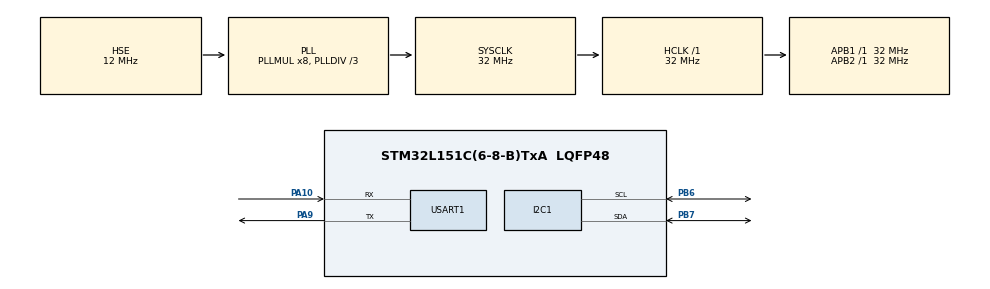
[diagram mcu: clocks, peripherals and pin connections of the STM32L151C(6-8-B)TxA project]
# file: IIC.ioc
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Mcu.Family=STM32L1
Mcu.Name=STM32L151C(6-8-B)TxA
Mcu.Package=LQFP48
NVIC.PriorityGroup=NVIC_PRIORITYGROUP_4
PA10.Mode=Asynchronous
PA10.Signal=USART1_RX
PA13.Mode=Serial_Wire
PA13.Signal=SYS_JTMS-SWDIO
PA14.Mode=Serial_Wire
PA14.Signal=SYS_JTCK-SWCLK
PA9.Mode=Asynchronous
PA9.Signal=USART1_TX
PB6.Mode=I2C
PB6.Signal=I2C1_SCL
PB7.Mode=I2C
PB7.Signal=I2C1_SDA
PH0-OSC_IN.Mode=HSE-External-Oscillator
PH0-OSC_IN.Signal=RCC_OSC_IN
PH1-OSC_OUT.Mode=HSE-External-Oscillator
PH1-OSC_OUT.Signal=RCC_OSC_OUT
ProjectManager.HeapSize=0x200
ProjectManager.StackSize=0x400
ProjectManager.TargetToolchain=MDK-ARM V5.27
RCC.48MHZClocksFreq_Value=48000000
RCC.AHBFreq_Value=32000000
RCC.APB1Freq_Value=32000000
RCC.APB1TimFreq_Value=32000000
RCC.APB2Freq_Value=32000000
RCC.APB2TimFreq_Value=32000000
RCC.HCLKFreq_Value=32000000
RCC.HSE_VALUE=12000000
RCC.HSI_VALUE=16000000
RCC.LSE_VALUE=32768
RCC.MSI_VALUE=2097000
RCC.PLLDIV=RCC_PLL_DIV3
RCC.PLLMUL=RCC_PLL_MUL8
RCC.PLLSourceVirtual=RCC_PLLSOURCE_HSE
RCC.SYSCLKFreq_VALUE=32000000
RCC.SYSCLKSource=RCC_SYSCLKSOURCE_PLLCLK
RCC.VCOOutputFreq_Value=96000000
USART1.VirtualMode=VM_ASYNC
board=custom

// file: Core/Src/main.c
/* USER CODE BEGIN Header */
/**
  ******************************************************************************
  * @file           : main.c
  * @brief          : Main program body
  ******************************************************************************
  * @attention
  *
  * <h2><center>&copy; Copyright (c) 2020 STMicroelectronics.
  * All rights reserved.</center></h2>
  *
  * This software component is licensed by ST under BSD 3-Clause license,
  * the "License"; You may not use this file except in compliance with the
  * License. You may obtain a copy of the License at:
  *                        opensource.org/licenses/BSD-3-Clause
  *
  ******************************************************************************
  */
/* USER CODE END Header */
#include "main.h"
#include "i2c.h"
#include "usart.h"
#include "gpio.h"

/* USER CODE BEGIN Includes */
#include "Stdio.h"
#include "String.h"
#include "SHT30_I2C_Driver.h"
/* USER CODE END Includes */

uint8_t I2CRXBuffer[6];

void SystemClock_Config(void);

int main(void)
{
  /* USER CODE BEGIN 1 */
	uint8_t Error = 0;
	float Temperature = 0,Humidity = 0;
  /* USER CODE END 1 */

  /* MCU Configuration--------------------------------------------------------*/

  /* Reset of all peripherals, Initializes the Flash interface and the Systick. */
  HAL_Init();

  /* USER CODE BEGIN Init */
	memset(I2CRXBuffer,0,sizeof(I2CRXBuffer));//接收数组初始化
  /* USER CODE END Init */

  /* Configure the system clock */
  SystemClock_Config();

  /* Initialize all configured peripherals */
  MX_GPIO_Init();
  MX_I2C1_Init();
  MX_USART1_UART_Init();

  /* Infinite loop */
  /* USER CODE BEGIN WHILE */
  while (1)
  {

		if(SHT30_ValGet(I2CRXBuffer) == HAL_OK)
		{
			Error = SHT30_Dat_To_Float(I2CRXBuffer,&Temperature,&Humidity);
			if(!Error)
			{
				printf("Temperature:%.2fC,Humidity:%.2f%%\r\n",Temperature,Humidity);
				HAL_Delay(1000);
			}
			else
			{
				printf("CRC Error\r\n");
			}
		}
		else
		{
			printf("SHT30_ValGet Error\r\n");
		}

    /* USER CODE END WHILE */

  }
}

void SystemClock_Config(void)
{
  RCC_OscInitTypeDef RCC_OscInitStruct = {0};
  RCC_ClkInitTypeDef RCC_ClkInitStruct = {0};

  /** Configure the main internal regulator output voltage
  */
  __HAL_PWR_VOLTAGESCALING_CONFIG(PWR_REGULATOR_VOLTAGE_SCALE1);
  /** Initializes the RCC Oscillators according to the specified parameters
  * in the RCC_OscInitTypeDef structure.
  */
  RCC_OscInitStruct.OscillatorType = RCC_OSCILLATORTYPE_HSE;
  RCC_OscInitStruct.HSEState = RCC_HSE_ON;
  RCC_OscInitStruct.PLL.PLLState = RCC_PLL_ON;
  RCC_OscInitStruct.PLL.PLLSource = RCC_PLLSOURCE_HSE;
  RCC_OscInitStruct.PLL.PLLMUL = RCC_PLL_MUL8;
  RCC_OscInitStruct.PLL.PLLDIV = RCC_PLL_DIV3;
  if (HAL_RCC_OscConfig(&RCC_OscInitStruct) != HAL_OK)
  {
    Error_Handler();
  }
  /** Initializes the CPU, AHB and APB buses clocks
  */
  RCC_ClkInitStruct.ClockType = RCC_CLOCKTYPE_HCLK|RCC_CLOCKTYPE_SYSCLK
                              |RCC_CLOCKTYPE_PCLK1|RCC_CLOCKTYPE_PCLK2;
  RCC_ClkInitStruct.SYSCLKSource = RCC_SYSCLKSOURCE_PLLCLK;
  RCC_ClkInitStruct.AHBCLKDivider = RCC_SYSCLK_DIV1;
  RCC_ClkInitStruct.APB1CLKDivider = RCC_HCLK_DIV1;
  RCC_ClkInitStruct.APB2CLKDivider = RCC_HCLK_DIV1;

  if (HAL_RCC_ClockConfig(&RCC_ClkInitStruct, FLASH_LATENCY_1) != HAL_OK)
  {
    Error_Handler();
  }
}

void Error_Handler(void)
{
}

/************************ (C) COPYRIGHT STMicroelectronics *****END OF FILE****/
